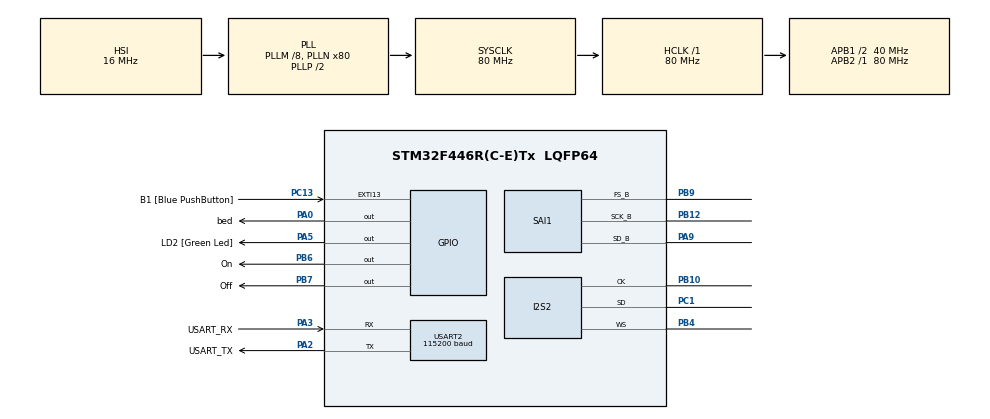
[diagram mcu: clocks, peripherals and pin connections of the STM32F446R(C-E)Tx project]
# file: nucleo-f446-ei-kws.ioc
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Dma.Request0=SAI1_B
Dma.Request1=SPI2_RX
Dma.Request2=USART2_TX
Dma.SAI1_B.0.Direction=DMA_PERIPH_TO_MEMORY
Dma.SAI1_B.0.FIFOMode=DMA_FIFOMODE_DISABLE
Dma.SAI1_B.0.Instance=DMA2_Stream4
Dma.SAI1_B.0.MemDataAlignment=DMA_MDATAALIGN_WORD
Dma.SAI1_B.0.MemInc=DMA_MINC_ENABLE
Dma.SAI1_B.0.Mode=DMA_CIRCULAR
Dma.SAI1_B.0.PeriphDataAlignment=DMA_PDATAALIGN_WORD
Dma.SAI1_B.0.PeriphInc=DMA_PINC_DISABLE
Dma.SAI1_B.0.Priority=DMA_PRIORITY_LOW
Dma.SPI2_RX.1.Direction=DMA_PERIPH_TO_MEMORY
Dma.SPI2_RX.1.FIFOMode=DMA_FIFOMODE_DISABLE
Dma.SPI2_RX.1.Instance=DMA1_Stream3
Dma.SPI2_RX.1.MemDataAlignment=DMA_MDATAALIGN_HALFWORD
Dma.SPI2_RX.1.MemInc=DMA_MINC_ENABLE
Dma.SPI2_RX.1.Mode=DMA_NORMAL
Dma.SPI2_RX.1.PeriphDataAlignment=DMA_PDATAALIGN_HALFWORD
Dma.SPI2_RX.1.PeriphInc=DMA_PINC_DISABLE
Dma.SPI2_RX.1.Priority=DMA_PRIORITY_LOW
Dma.USART2_TX.2.Direction=DMA_MEMORY_TO_PERIPH
Dma.USART2_TX.2.FIFOMode=DMA_FIFOMODE_DISABLE
Dma.USART2_TX.2.Instance=DMA1_Stream6
Dma.USART2_TX.2.MemDataAlignment=DMA_MDATAALIGN_HALFWORD
Dma.USART2_TX.2.MemInc=DMA_MINC_ENABLE
Dma.USART2_TX.2.Mode=DMA_NORMAL
Dma.USART2_TX.2.PeriphDataAlignment=DMA_PDATAALIGN_HALFWORD
Dma.USART2_TX.2.PeriphInc=DMA_PINC_DISABLE
Dma.USART2_TX.2.Priority=DMA_PRIORITY_LOW
EdgeImpulse.Keyword_Spotting.1.0.3.MachineLearningCcKeywordIiSpottingJjCore=true
I2S2.ErrorAudioFreq=0.0 %
I2S2.FullDuplexMode=I2S_FULLDUPLEXMODE_DISABLE
I2S2.Instance=SPI$Index
I2S2.Mode=I2S_MODE_MASTER_RX
I2S2.RealAudioFreq=8.0 KHz
I2S2.VirtualMode=I2S_MODE_MASTER
Mcu.Family=STM32F4
Mcu.Name=STM32F446R(C-E)Tx
Mcu.Package=LQFP64
NVIC.DMA1_Stream3_IRQn=true\:0\:0\:false\:false\:true\:false\:true\:true
NVIC.DMA1_Stream6_IRQn=true\:0\:0\:false\:false\:true\:false\:true\:true
NVIC.DMA2_Stream4_IRQn=true\:0\:0\:false\:false\:true\:false\:true\:true
NVIC.PriorityGroup=NVIC_PRIORITYGROUP_0
PA0-WKUP.GPIO_Label=bed
PA0-WKUP.Signal=GPIO_Output
PA13.GPIO_Label=TMS
PA13.Mode=Serial_Wire
PA13.Signal=SYS_JTMS-SWDIO
PA14.GPIO_Label=TCK
PA14.Mode=Serial_Wire
PA14.Signal=SYS_JTCK-SWCLK
PA2.GPIO_Label=USART_TX
PA2.Mode=Asynchronous
PA2.Signal=USART2_TX
PA3.GPIO_Label=USART_RX
PA3.Mode=Asynchronous
PA3.Signal=USART2_RX
PA5.GPIO_Label=LD2 [Green Led]
PA5.Signal=GPIO_Output
PA9.Mode=SAI_B_Master
PA9.Signal=SAI1_SD_B
PB10.Mode=Half_Duplex_Master
PB10.Signal=I2S2_CK
PB12.Mode=SAI_B_Master
PB12.Signal=SAI1_SCK_B
PB3.GPIO_Label=SWO
PB3.Signal=SYS_JTDO-SWO
PB4.Mode=Half_Duplex_Master
PB4.Signal=I2S2_WS
PB6.GPIO_Label=On
PB6.Signal=GPIO_Output
PB7.GPIO_Label=Off
PB7.Signal=GPIO_Output
PB9.Mode=SAI_B_Master
PB9.Signal=SAI1_FS_B
PC1.Mode=Half_Duplex_Master
PC1.Signal=I2S2_SD
PC13.GPIO_Label=B1 [Blue PushButton]
PC13.GPIO_ModeDefaultEXTI=GPIO_MODE_IT_FALLING
PC13.Signal=GPXTI13
PC14-OSC32_IN.Mode=LSE-External-Oscillator
PC14-OSC32_IN.Signal=RCC_OSC32_IN
PC15-OSC32_OUT.Mode=LSE-External-Oscillator
PC15-OSC32_OUT.Signal=RCC_OSC32_OUT
PH0-OSC_IN.Mode=HSE-External-Oscillator
PH0-OSC_IN.Signal=RCC_OSC_IN
PH1-OSC_OUT.Mode=HSE-External-Oscillator
PH1-OSC_OUT.Signal=RCC_OSC_OUT
ProjectManager.HeapSize=0x200
ProjectManager.StackSize=0x400
ProjectManager.TargetToolchain=STM32CubeIDE
RCC.48MHZClocksFreq_Value=84000000
RCC.AHBFreq_Value=80000000
RCC.APB1CLKDivider=RCC_HCLK_DIV2
RCC.APB1Freq_Value=40000000
RCC.APB1TimFreq_Value=80000000
RCC.APB2Freq_Value=80000000
RCC.APB2TimFreq_Value=80000000
RCC.CortexFreq_Value=80000000
RCC.FLatency-AdvancedSettings=FLASH_LATENCY_2
RCC.HCLKFreq_Value=80000000
RCC.HSE_VALUE=8000000
RCC.HSI_VALUE=16000000
RCC.PLLM=8
RCC.PLLN=80
RCC.PLLSAIM=8
RCC.PLLSAIN=50
RCC.SYSCLKFreq_VALUE=80000000
RCC.SYSCLKSource=RCC_SYSCLKSOURCE_PLLCLK
RCC.USBFreq_Value=80000000
RCC.VCOOutputFreq_Value=160000000
SAI1.AudioFrequency-SAI_B_Master=SAI_AUDIO_FREQUENCY_32K
SAI1.AudioMode-SAI_B_Master=SAI_MODEMASTER_RX
SAI1.BasicDataSize-SAI_B_Master=SAI_PROTOCOL_DATASIZE_24BIT
SAI1.ErrorAudioFreq-SAI_B_Master=1.72 %
SAI1.InitProtocol-SAI_B_Master=Enable
SAI1.Instance-SAI_B_Master=SAI$Index_Block_B
SAI1.MClockEnable-SAI_B_Master=SAI_MASTERCLOCK_DISABLE
SAI1.RealAudioFreq-SAI_B_Master=32.552 KHz
SAI1.VirtualMode-SAI_B_Master=VM_MASTER
SAI1.VirtualProtocol-SAI_B_BASIC=VM_BASIC_PROTOCOL
USART2.BaudRate=115200
USART2.VirtualMode=VM_ASYNC
VP_CRC_VS_CRC.Mode=CRC_Activate
VP_EdgeImpulse.Keyword_Spotting_VS_KeywordIiSpottingJjMachineLearning_1.0.3_1.0.3.Mode=KeywordIiSpottingJjMachineLearning
VP_SAI1_VP_$IpInstance_SAIB_SAI_BASIC.Mode=SAI_B_BASIC
board=NUCLEO-F446RE

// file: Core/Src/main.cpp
/* USER CODE BEGIN Header */
/**
  ******************************************************************************
  * @file           : main.c
  * @brief          : Main program body
  ******************************************************************************
  * @attention
  *
  * <h2><center>&copy; Copyright (c) 2022 STMicroelectronics.
  * All rights reserved.</center></h2>
  *
  * This software component is licensed by ST under Ultimate Liberty license
  * SLA0044, the "License"; You may not use this file except in compliance with
  * the License. You may obtain a copy of the License at:
  *                             www.st.com/SLA0044
  *
  ******************************************************************************
  */
/* USER CODE END Header */
#include "main.h"

/* USER CODE BEGIN Includes */
#include <stdarg.h>
#include "stdio.h"
#include "stdint.h"
#include "ei_run_classifier.h"
#include "model-parameters/model_variables.h"
using namespace ei;
/* USER CODE END Includes */

/* USER CODE BEGIN PTD */
typedef struct {
    int16_t *buffers[2];
    uint8_t buf_select;
    volatile uint8_t buf_ready;
    uint32_t buf_count;
    uint32_t n_samples;
} inference_t;
/* USER CODE END PTD */

/* USER CODE BEGIN PD */
#define I2S_BUF_LEN 6400  // 4x desired size to downsample and throw out 1 ch
#define I2S_BUF_SKIP 4    // (2x L/R ch) * (2x sample rate)
/* USER CODE END PD */

CRC_HandleTypeDef hcrc;

I2S_HandleTypeDef hi2s2;
DMA_HandleTypeDef hdma_spi2_rx;

SAI_HandleTypeDef hsai_BlockB1;
DMA_HandleTypeDef hdma_sai1_b;

UART_HandleTypeDef huart2;
DMA_HandleTypeDef hdma_usart2_tx;

/* USER CODE BEGIN PV */
// Settings
static bool debug_nn = false; // Set this to true to see e.g. features generated from the raw signal
// Globals
uint32_t i2s_buf[I2S_BUF_LEN];
static inference_t inference;
static bool record_ready = false;
/* USER CODE END PV */

void SystemClock_Config(void);
static void MX_GPIO_Init(void);
static void MX_DMA_Init(void);
static void MX_USART2_UART_Init(void);
static void MX_CRC_Init(void);
static void MX_SAI1_Init(void);
static void MX_I2S2_Init(void);
/* USER CODE BEGIN PFP */
static int get_audio_signal_data(size_t offset, size_t length, float *out_ptr);
static void audio_buffer_inference_callback(uint32_t n_bytes, uint32_t offset);
bool ei_microphone_inference_record(void);
bool ei_microphone_inference_end(void);
void ei_printf(const char *format, ...);
void vprint(const char *fmt, va_list argp);
/* USER CODE END PFP */

/* USER CODE BEGIN 0 */
#define BLOCK_SIZE_U16 4
uint8_t rxBuf[BLOCK_SIZE_U16*2];
uint8_t txBuf[BLOCK_SIZE_U16*2];

/* USER CODE END 0 */

int main(void)
{
  /* USER CODE BEGIN 1 */
    HAL_StatusTypeDef hal_res;
    int print_results = -(EI_CLASSIFIER_SLICES_PER_MODEL_WINDOW);
    uint32_t timestamp = 0;
  /* USER CODE END 1 */

  /* MCU Configuration--------------------------------------------------------*/

  /* Reset of all peripherals, Initializes the Flash interface and the Systick. */
  HAL_Init();

  /* Configure the system clock */
  SystemClock_Config();

  /* Initialize all configured peripherals */
  MX_GPIO_Init();
  MX_DMA_Init();
  MX_USART2_UART_Init();
  MX_CRC_Init();
  MX_SAI1_Init();
  MX_I2S2_Init();
  /* USER CODE BEGIN 2 */
  //Receiver
HAL_SAI_Receive(&hsai_BlockB1, rxBuf, BLOCK_SIZE_U16, 4);
  // Say some stuff
  ei_printf("Inferencing settings:\r\n");
  ei_printf("\tInterval: %.2f ms.\r\n", (float)EI_CLASSIFIER_INTERVAL_MS);
  ei_printf("\tFrame size: %d\r\n", EI_CLASSIFIER_DSP_INPUT_FRAME_SIZE);
  ei_printf("\tSample length: %d ms.\r\n", EI_CLASSIFIER_RAW_SAMPLE_COUNT / 16);
  ei_printf("\tNo. of classes: %d\r\n", sizeof(ei_classifier_inferencing_categories) / sizeof(ei_classifier_inferencing_categories[0]));
  // Create double buffer
  inference.buffers[0] = (int16_t *)malloc(EI_CLASSIFIER_SLICE_SIZE * sizeof(int16_t));
  if(inference.buffers[0] == NULL)
  {
    ei_printf("ERROR: Could not create buffer 1. Likely ran out of heap memory.\r\n");
  }
  inference.buffers[1] = (int16_t *)malloc(EI_CLASSIFIER_SLICE_SIZE * sizeof(int16_t));
  if(inference.buffers[1] == NULL)
  {
    ei_printf("ERROR: Could not create buffer 2. Likely ran out of heap memory.\r\n");
  }
  // Set inference parameters
  inference.buf_select = 0;
  inference.buf_count  = 0;
  inference.n_samples  = EI_CLASSIFIER_SLICE_SIZE;
  inference.buf_ready  = 0;
  // Start receiving I2S audio data
  hal_res =  HAL_SAI_Receive_DMA(&hsai_BlockB1, (uint8_t *)i2s_buf, I2S_BUF_LEN);
  if (hal_res != HAL_OK)
  {
    ei_printf("ERROR: Could not initialize I2S microphone.\r\n");
  }
  // Start doing inference
  record_ready = true;
  /* USER CODE END 2 */

  /* Infinite loop */
  while (1)
  {

	          // Do classification (i.e. the inference part)
	          signal_t signal;
	          signal.total_length = EI_CLASSIFIER_SLICE_SIZE;
	          signal.get_data = &get_audio_signal_data;
	          ei_impulse_result_t result = { 0 };
	          EI_IMPULSE_ERROR res = run_classifier(&signal, &result, debug_nn);

	          if(++print_results >= (EI_CLASSIFIER_SLICES_PER_MODEL_WINDOW >> 1)){
	          ei_printf("Predictions (DSP: %d ms., Classification: %d ms.",result.timing.dsp, result.timing.classification);

	          // Print output predictions (once every 4 predictions)

	                for (size_t ix = 0; ix < EI_CLASSIFIER_LABEL_COUNT; ix++)
	                {

	                	ei_printf("    %s: %.5f\r\n", result.classification[ix].label, result.classification[ix].value);
	                	ei_printf_float(result.classification[ix].value);
	                }
	                print_results=0;
	          }

				#if EI_CLASSIFIER_HAS_MODEL_VARIABLES == 1

	                	ei_printf("Pass");

					#else
	            		   ei_printf("fail");
					#endif

	                 if (result.classification[2].value>0.5)
	                 {
	                   HAL_GPIO_WritePin(GPIOA, GPIO_PIN_0,GPIO_PIN_SET);

	                 }
	                 if (result.classification[3].value>0.5)
	                {

	                	   HAL_GPIO_WritePin(GPIOB, GPIO_PIN_7,GPIO_PIN_SET);

	                  }
	                 if (result.classification[4].value>0.5)
	                 {
	                	    HAL_GPIO_WritePin(GPIOB, GPIO_PIN_6,GPIO_PIN_SET);
	                	               }

    /* USER CODE BEGIN 3 */
  }
  ei_microphone_inference_end();
  /* USER CODE END 3 */
}

void SystemClock_Config(void)
{
  RCC_OscInitTypeDef RCC_OscInitStruct = {0};
  RCC_ClkInitTypeDef RCC_ClkInitStruct = {0};
  RCC_PeriphCLKInitTypeDef PeriphClkInitStruct = {0};

  /** Configure the main internal regulator output voltage
  */
  __HAL_RCC_PWR_CLK_ENABLE();
  __HAL_PWR_VOLTAGESCALING_CONFIG(PWR_REGULATOR_VOLTAGE_SCALE3);
  /** Initializes the RCC Oscillators according to the specified parameters
  * in the RCC_OscInitTypeDef structure.
  */
  RCC_OscInitStruct.OscillatorType = RCC_OSCILLATORTYPE_HSI;
  RCC_OscInitStruct.HSIState = RCC_HSI_ON;
  RCC_OscInitStruct.HSICalibrationValue = RCC_HSICALIBRATION_DEFAULT;
  RCC_OscInitStruct.PLL.PLLState = RCC_PLL_ON;
  RCC_OscInitStruct.PLL.PLLSource = RCC_PLLSOURCE_HSI;
  RCC_OscInitStruct.PLL.PLLM = 8;
  RCC_OscInitStruct.PLL.PLLN = 80;
  RCC_OscInitStruct.PLL.PLLP = RCC_PLLP_DIV2;
  RCC_OscInitStruct.PLL.PLLQ = 2;
  RCC_OscInitStruct.PLL.PLLR = 2;
  if (HAL_RCC_OscConfig(&RCC_OscInitStruct) != HAL_OK)
  {
    Error_Handler();
  }
  /** Initializes the CPU, AHB and APB buses clocks
  */
  RCC_ClkInitStruct.ClockType = RCC_CLOCKTYPE_HCLK|RCC_CLOCKTYPE_SYSCLK
                              |RCC_CLOCKTYPE_PCLK1|RCC_CLOCKTYPE_PCLK2;
  RCC_ClkInitStruct.SYSCLKSource = RCC_SYSCLKSOURCE_PLLCLK;
  RCC_ClkInitStruct.AHBCLKDivider = RCC_SYSCLK_DIV1;
  RCC_ClkInitStruct.APB1CLKDivider = RCC_HCLK_DIV2;
  RCC_ClkInitStruct.APB2CLKDivider = RCC_HCLK_DIV1;

  if (HAL_RCC_ClockConfig(&RCC_ClkInitStruct, FLASH_LATENCY_2) != HAL_OK)
  {
    Error_Handler();
  }
  PeriphClkInitStruct.PeriphClockSelection = RCC_PERIPHCLK_I2S_APB1|RCC_PERIPHCLK_SAI1;
  PeriphClkInitStruct.PLLI2S.PLLI2SN = 192;
  PeriphClkInitStruct.PLLI2S.PLLI2SP = RCC_PLLI2SP_DIV2;
  PeriphClkInitStruct.PLLI2S.PLLI2SM = 16;
  PeriphClkInitStruct.PLLI2S.PLLI2SR = 2;
  PeriphClkInitStruct.PLLI2S.PLLI2SQ = 2;
  PeriphClkInitStruct.PLLSAI.PLLSAIM = 8;
  PeriphClkInitStruct.PLLSAI.PLLSAIN = 50;
  PeriphClkInitStruct.PLLSAI.PLLSAIQ = 2;
  PeriphClkInitStruct.PLLSAI.PLLSAIP = RCC_PLLSAIP_DIV2;
  PeriphClkInitStruct.PLLI2SDivQ = 1;
  PeriphClkInitStruct.PLLSAIDivQ = 1;
  PeriphClkInitStruct.Sai1ClockSelection = RCC_SAI1CLKSOURCE_PLLSAI;
  PeriphClkInitStruct.I2sApb1ClockSelection = RCC_I2SAPB1CLKSOURCE_PLLI2S;
  if (HAL_RCCEx_PeriphCLKConfig(&PeriphClkInitStruct) != HAL_OK)
  {
    Error_Handler();
  }
}

static void MX_CRC_Init(void)
{

  hcrc.Instance = CRC;
  if (HAL_CRC_Init(&hcrc) != HAL_OK)
  {
    Error_Handler();
  }

}

static void MX_I2S2_Init(void)
{

  hi2s2.Instance = SPI2;
  hi2s2.Init.Mode = I2S_MODE_MASTER_RX;
  hi2s2.Init.Standard = I2S_STANDARD_PHILIPS;
  hi2s2.Init.DataFormat = I2S_DATAFORMAT_16B;
  hi2s2.Init.MCLKOutput = I2S_MCLKOUTPUT_DISABLE;
  hi2s2.Init.AudioFreq = I2S_AUDIOFREQ_8K;
  hi2s2.Init.CPOL = I2S_CPOL_LOW;
  hi2s2.Init.ClockSource = I2S_CLOCK_PLL;
  hi2s2.Init.FullDuplexMode = I2S_FULLDUPLEXMODE_DISABLE;
  if (HAL_I2S_Init(&hi2s2) != HAL_OK)
  {
    Error_Handler();
  }

}

static void MX_SAI1_Init(void)
{

  hsai_BlockB1.Instance = SAI1_Block_B;
  hsai_BlockB1.Init.AudioMode = SAI_MODEMASTER_RX;
  hsai_BlockB1.Init.Synchro = SAI_ASYNCHRONOUS;
  hsai_BlockB1.Init.OutputDrive = SAI_OUTPUTDRIVE_DISABLE;
  hsai_BlockB1.Init.NoDivider = SAI_MASTERDIVIDER_ENABLE;
  hsai_BlockB1.Init.FIFOThreshold = SAI_FIFOTHRESHOLD_EMPTY;
  hsai_BlockB1.Init.ClockSource = SAI_CLKSOURCE_NA;
  hsai_BlockB1.Init.AudioFrequency = SAI_AUDIO_FREQUENCY_32K;
  hsai_BlockB1.Init.SynchroExt = SAI_SYNCEXT_DISABLE;
  hsai_BlockB1.Init.MonoStereoMode = SAI_STEREOMODE;
  hsai_BlockB1.Init.CompandingMode = SAI_NOCOMPANDING;
  if (HAL_SAI_InitProtocol(&hsai_BlockB1, SAI_I2S_STANDARD, SAI_PROTOCOL_DATASIZE_24BIT, 2) != HAL_OK)
  {
    Error_Handler();
  }

}

static void MX_USART2_UART_Init(void)
{

  huart2.Instance = USART2;
  huart2.Init.BaudRate = 115200;
  huart2.Init.WordLength = UART_WORDLENGTH_8B;
  huart2.Init.StopBits = UART_STOPBITS_1;
  huart2.Init.Parity = UART_PARITY_NONE;
  huart2.Init.Mode = UART_MODE_TX_RX;
  huart2.Init.HwFlowCtl = UART_HWCONTROL_NONE;
  huart2.Init.OverSampling = UART_OVERSAMPLING_16;
  if (HAL_UART_Init(&huart2) != HAL_OK)
  {
    Error_Handler();
  }

}

static void MX_DMA_Init(void)
{

  /* DMA controller clock enable */
  __HAL_RCC_DMA2_CLK_ENABLE();
  __HAL_RCC_DMA1_CLK_ENABLE();

  /* DMA interrupt init */
  /* DMA1_Stream3_IRQn interrupt configuration */
  HAL_NVIC_SetPriority(DMA1_Stream3_IRQn, 0, 0);
  HAL_NVIC_EnableIRQ(DMA1_Stream3_IRQn);

  /* DMA1_Stream6_IRQn interrupt configuration */
  HAL_NVIC_SetPriority(DMA1_Stream6_IRQn, 0, 0);
  HAL_NVIC_EnableIRQ(DMA1_Stream6_IRQn);

  /* DMA2_Stream4_IRQn interrupt configuration */
  HAL_NVIC_SetPriority(DMA2_Stream4_IRQn, 0, 0);
  HAL_NVIC_EnableIRQ(DMA2_Stream4_IRQn);

}

static void MX_GPIO_Init(void)
{
  GPIO_InitTypeDef GPIO_InitStruct = {0};

  /* GPIO Ports Clock Enable */
  __HAL_RCC_GPIOC_CLK_ENABLE();
  __HAL_RCC_GPIOH_CLK_ENABLE();
  __HAL_RCC_GPIOA_CLK_ENABLE();
  __HAL_RCC_GPIOB_CLK_ENABLE();

  /*Configure GPIO pin Output Level */
  HAL_GPIO_WritePin(GPIOA, bed_Pin|LD2_Pin, GPIO_PIN_RESET);

  /*Configure GPIO pin Output Level */
  HAL_GPIO_WritePin(GPIOB, On_Pin|Off_Pin, GPIO_PIN_RESET);

  /*Configure GPIO pin : B1_Pin */
  GPIO_InitStruct.Pin = B1_Pin;
  GPIO_InitStruct.Mode = GPIO_MODE_IT_FALLING;
  GPIO_InitStruct.Pull = GPIO_NOPULL;
  HAL_GPIO_Init(B1_GPIO_Port, &GPIO_InitStruct);

  /*Configure GPIO pins : bed_Pin LD2_Pin */
  GPIO_InitStruct.Pin = bed_Pin|LD2_Pin;
  GPIO_InitStruct.Mode = GPIO_MODE_OUTPUT_PP;
  GPIO_InitStruct.Pull = GPIO_NOPULL;
  GPIO_InitStruct.Speed = GPIO_SPEED_FREQ_LOW;
  HAL_GPIO_Init(GPIOA, &GPIO_InitStruct);

  /*Configure GPIO pins : On_Pin Off_Pin */
  GPIO_InitStruct.Pin = On_Pin|Off_Pin;
  GPIO_InitStruct.Mode = GPIO_MODE_OUTPUT_PP;
  GPIO_InitStruct.Pull = GPIO_NOPULL;
  GPIO_InitStruct.Speed = GPIO_SPEED_FREQ_LOW;
  HAL_GPIO_Init(GPIOB, &GPIO_InitStruct);

}

/* USER CODE BEGIN 4 */
/**
 * @brief      Wait for a full buffer
 *
 * @return     In case of an buffer overrun return false
 */
bool ei_microphone_inference_record(void)
{
  bool ret = true;
  // Check to see if the buffer has overrun
  if (inference.buf_ready == 1) {
      ret = false;
  }
  // %%%TODO: make this non-blocking
  while (inference.buf_ready == 0)
  {
    continue;
  }
  inference.buf_ready = 0;
  return ret;
}
/**
 * @brief      Stop audio sampling, release sampling buffers
 *
 * @return     false on error
 */
bool ei_microphone_inference_end(void)
{
  // Stop I2S
  HAL_SAI_DMAStop(&hsai_BlockB1);
  // Free up double buffer
  record_ready = false;
  free(inference.buffers[0]);
  free(inference.buffers[1]);
  return true;
}
/**
 * @brief      Copy sample data in selected buf and signal ready when buffer is full
 *
 * @param[in]  n_bytes  Number of bytes to copy
 * @param[in]  offset   offset in sampleBuffer
 */
static void audio_buffer_inference_callback(uint32_t n_bytes, uint32_t offset)
{
  // Copy samples from I2S buffer to inference buffer. Convert 24-bit, 32kHz
  // samples to 16-bit, 16kHz
  for (uint32_t i = 0; i < (n_bytes >> 1); i++) {
    inference.buffers[inference.buf_select][inference.buf_count++] =
        (int16_t)(i2s_buf[offset + (I2S_BUF_SKIP * i)] >> 8);
    if (inference.buf_count >= inference.n_samples) {
      inference.buf_select ^= 1;
      inference.buf_count = 0;
      inference.buf_ready = 1;
    }
  }
}
/**
 * Get raw audio signal data
 */
static int get_audio_signal_data(size_t offset, size_t length, float *out_ptr)
{
  numpy::int16_to_float(&inference.buffers[inference.buf_select ^ 1][offset], out_ptr, length);
  return 0;
}
/**
 * Low-level print function that uses UART to print status messages.
 */
void vprint(const char *fmt, va_list argp)
{
  char string[200];
  if(0 < vsprintf(string, fmt, argp)) // build string
  {
      HAL_UART_Transmit(&huart2, (uint8_t*)string, strlen(string), 0xffffff);
  }
}
/**
 * Wrapper for vprint. Use this like you would printf to print messages to the serial console.
 */
void ei_printf(const char *format, ...)
{
  va_list myargs;
  va_start(myargs, format);
  vprint(format, myargs);
  va_end(myargs);
}
/**
 * Called when the first half of the receive buffer is full
 */
void HAL_SAI_RxHalfCpltCallback(SAI_HandleTypeDef *hsai)
{
                //restore signed 24 bit sample from 16-bit buffers
                int lSample = (int) (rxBuf[0]<<16) | rxBuf[1];
                int rSample = (int) (rxBuf[2]<<16) | rxBuf[3];
                lSample = lSample << 1; //amplify sound
                rSample = lSample; // because there is one mic only
                //sum to mono
                lSample = rSample + lSample;
                rSample = lSample;
  if (record_ready == true)
  {
    audio_buffer_inference_callback(I2S_BUF_LEN / I2S_BUF_SKIP, 0);
  }
}
/**
 * Called when the second half of the receive buffer is full
 */
void HAL_SAI_RxCpltCallback(SAI_HandleTypeDef *hsai)
{
        //restore signed 24 bit sample from 16-bit buffers
                        int lSample = (int) (rxBuf[4]<<16) | rxBuf[5];
                        int rSample = (int) (rxBuf[6]<<16) | rxBuf[7];
                        lSample = lSample << 1; //amplify sound
                    rSample = lSample; // because there is one mic only
                        //sum to mono
                        lSample = rSample + lSample;
                        rSample = lSample;
  if (record_ready == true)
  {
    audio_buffer_inference_callback(I2S_BUF_LEN / I2S_BUF_SKIP, I2S_BUF_LEN >> 1);
  }
}
/* USER CODE END 4 */

void Error_Handler(void)
{
  __disable_irq();
  while (1)
  {
  }
}

/************************ (C) COPYRIGHT STMicroelectronics *****END OF FILE****/
